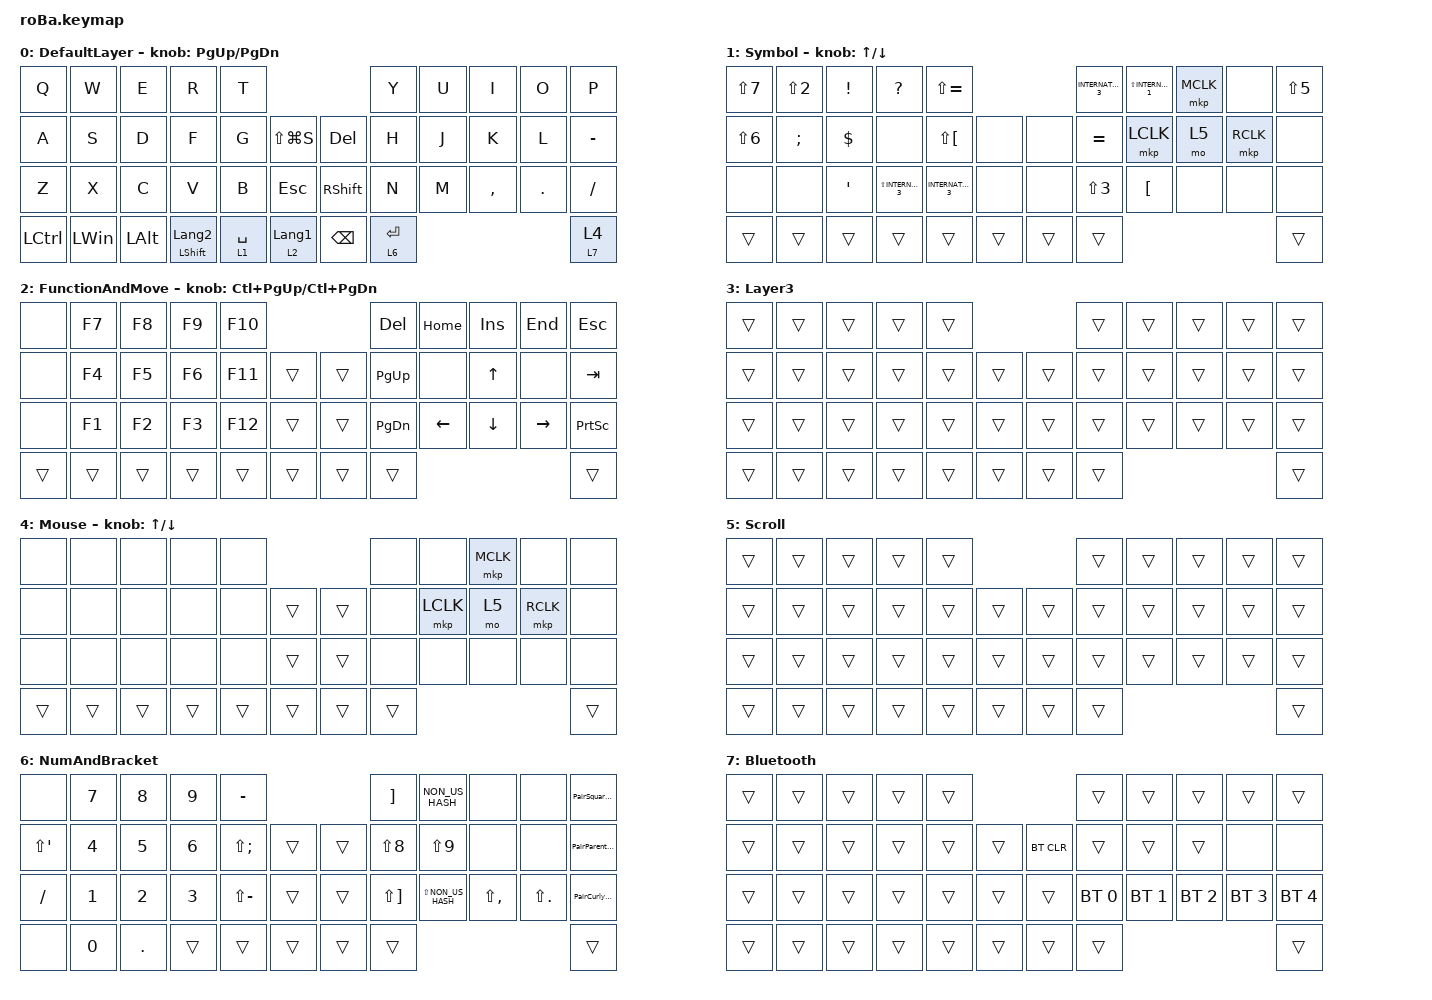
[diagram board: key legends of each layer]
#include <behaviors.dtsi>
#include <dt-bindings/zmk/bt.h>
#include <dt-bindings/zmk/keys.h>
#include <dt-bindings/zmk/pointing.h>

#define MOUSE 4
#define SCROLL 5
#define NUM 6

&mt {
    flavor = "balanced";
    quick-tap-ms = <0>;
};

/ {
    combos {
        compatible = "zmk,combos";

        LeftClick {
            bindings = <&mkp LCLK>;
            key-positions = <18 19>;
        };

        RightClick {
            bindings = <&mkp RCLK>;
            key-positions = <19 20>;
        };

        ScrollMode {
            bindings = <&mo 5>;
            key-positions = <30 19>;
        };

        MiddleClick {
            bindings = <&mkp MCLK>;
            key-positions = <7 18>;
        };
    };

    macros {
        to_layer_0: to_layer_0 {
            compatible = "zmk,behavior-macro-one-param";
            #binding-cells = <1>;
            bindings = <&to 0 &macro_param_1to1 &kp MACRO_PLACEHOLDER>;
            label = "TO_LAYER_0";
        };

        PairSquareBrackets: PairSquareBrackets {
            compatible = "zmk,behavior-macro";
            #binding-cells = <0>;
            bindings = <&kp RIGHT_BRACKET &kp NON_US_HASH &kp LEFT>;
            label = "PAIRSQUAREBRACKETS";
        };

        PairParentheses: PairParentheses {
            compatible = "zmk,behavior-macro";
            #binding-cells = <0>;
            bindings = <&kp LS(N8) &kp LS(N9) &kp LEFT>;
            label = "PAIRPARENTHESES";
        };

        PairCurlyBrackets: PairCurlyBrackets {
            compatible = "zmk,behavior-macro";
            #binding-cells = <0>;
            bindings = <&kp LS(RIGHT_BRACKET) &kp LS(NON_US_HASH) &kp LEFT>;
            label = "PAIRCURLYBRACKETS";
        };
    };

    behaviors {
        lt_to_layer_0: lt_to_layer_0 {
            compatible = "zmk,behavior-hold-tap";
            label = "LAYER_TAP_TO_0";
            bindings = <&mo>, <&to_layer_0>;

            #binding-cells = <2>;
            tapping-term-ms = <200>;
        };

        BTorMouseLayer: BTorMouseLayer {
            compatible = "zmk,behavior-hold-tap";
            label = "BTORMOUSELAYER";
            bindings = <&mo>, <&tog>;

            #binding-cells = <2>;
            tapping-term-ms = <200>;
        };

        ShiftORLeftClick: ShiftORLeftClick {
            compatible = "zmk,behavior-hold-tap";
            label = "SHIFTORLEFTCLICK";
            bindings = <&kp>, <&mkp>;

            #binding-cells = <2>;
            tapping-term-ms = <200>;
        };
    };

    keymap {
        compatible = "zmk,keymap";

        DefaultLayer {
            bindings = <
&kp Q      &kp W         &kp E         &kp R                      &kp T                                             &kp Y        &kp U  &kp I      &kp O    &kp P
&kp A      &kp S         &kp D         &kp F                      &kp G        &kp LS(LG(S))       &kp DELETE       &kp H        &kp J  &kp K      &kp L    &kp MINUS
&kp Z      &kp X         &kp C         &kp V                      &kp B        &kp ESCAPE          &kp RIGHT_SHIFT  &kp N        &kp M  &kp COMMA  &kp DOT  &kp SLASH
&kp LCTRL  &kp LEFT_WIN  &kp LEFT_ALT  &mt LEFT_SHIFT LANGUAGE_2  &lt 1 SPACE  &lt 2 LANGUAGE_1    &kp BACKSPACE    &lt 6 ENTER                             &BTorMouseLayer 7 4
            >;

            sensor-bindings = <&inc_dec_kp PG_UP PAGE_DOWN>;
        };

        Symbol {
            bindings = <
&kp LS(N7)        &kp LS(NUMBER_2)  &kp EXCLAMATION  &kp QUESTION             &kp LS(EQUAL)                           &kp INTERNATIONAL_3  &kp LS(INTERNATIONAL_1)  &mkp MCLK  &none      &kp LS(N5)
&kp LS(NUMBER_6)  &kp SEMICOLON     &kp DOLLAR       &none                    &kp LS(LEFT_BRACKET)  &none     &none   &kp EQUAL            &mkp LCLK                &mo 5      &mkp RCLK  &none
&none             &none             &kp SQT          &kp LS(INTERNATIONAL_3)  &kp INTERNATIONAL_3   &none     &none   &kp LS(NUMBER_3)     &kp LEFT_BRACKET         &none      &none      &none
&trans            &trans            &trans           &trans                   &trans                &trans    &trans  &trans                                                              &trans
            >;

            sensor-bindings = <&inc_dec_kp UP_ARROW DOWN_ARROW>;
        };

        FunctionAndMove {
            bindings = <
&none   &kp F7  &kp F8  &kp F9  &kp F10                    &kp DELETE     &kp HOME  &kp INS       &kp END    &kp ESCAPE
&none   &kp F4  &kp F5  &kp F6  &kp F11  &trans    &trans  &kp PAGE_UP    &none     &kp UP_ARROW  &none      &kp TAB
&none   &kp F1  &kp F2  &kp F3  &kp F12  &trans    &trans  &kp PAGE_DOWN  &kp LEFT  &kp DOWN      &kp RIGHT  &kp PRINTSCREEN
&trans  &trans  &trans  &trans  &trans   &trans    &trans  &trans                                            &trans
            >;

            sensor-bindings = <&inc_dec_kp LC(PAGE_UP) LC(PAGE_DOWN)>;
        };

        Layer3 {
            bindings = <
&trans  &trans  &trans  &trans  &trans                    &trans  &trans  &trans  &trans  &trans
&trans  &trans  &trans  &trans  &trans  &trans    &trans  &trans  &trans  &trans  &trans  &trans
&trans  &trans  &trans  &trans  &trans  &trans    &trans  &trans  &trans  &trans  &trans  &trans
&trans  &trans  &trans  &trans  &trans  &trans    &trans  &trans                          &trans
            >;
        };

        Mouse {
            bindings = <
&none   &none   &none   &none   &none                     &none   &none      &mkp MCLK  &none      &none
&none   &none   &none   &none   &none   &trans    &trans  &none   &mkp LCLK  &mo 5      &mkp RCLK  &none
&none   &none   &none   &none   &none   &trans    &trans  &none   &none      &none      &none      &none
&trans  &trans  &trans  &trans  &trans  &trans    &trans  &trans                                   &trans
            >;

            sensor-bindings = <&inc_dec_kp UP_ARROW DOWN>;
        };

        Scroll {
            bindings = <
&trans  &trans  &trans  &trans  &trans                    &trans  &trans  &trans  &trans  &trans
&trans  &trans  &trans  &trans  &trans  &trans    &trans  &trans  &trans  &trans  &trans  &trans
&trans  &trans  &trans  &trans  &trans  &trans    &trans  &trans  &trans  &trans  &trans  &trans
&trans  &trans  &trans  &trans  &trans  &trans    &trans  &trans                          &trans
            >;
        };

        NumAndBracket {
            bindings = <
&none        &kp N7        &kp N8        &kp N9        &kp MINUS                        &kp RIGHT_BRACKET      &kp NON_US_HASH      &none          &none           &PairSquareBrackets
&kp LS(SQT)  &kp NUMBER_4  &kp N5        &kp NUMBER_6  &kp LS(SEMI)   &trans    &trans  &kp LS(N8)             &kp LS(N9)           &none          &none           &PairParentheses
&kp SLASH    &kp NUMBER_1  &kp NUMBER_2  &kp NUMBER_3  &kp LS(MINUS)  &trans    &trans  &kp LS(RIGHT_BRACKET)  &kp LS(NON_US_HASH)  &kp LS(COMMA)  &kp LS(PERIOD)  &PairCurlyBrackets
&none        &kp N0        &kp DOT       &trans        &trans         &trans    &trans  &trans                                                                     &trans
            >;
        };

        Bluetooth {
            bindings = <
&trans  &trans  &trans  &trans  &trans                        &trans        &trans        &trans        &trans        &trans
&trans  &trans  &trans  &trans  &trans  &trans    &bt BT_CLR  &trans        &trans        &trans        &none         &none
&trans  &trans  &trans  &trans  &trans  &trans    &trans      &bt BT_SEL 0  &bt BT_SEL 1  &bt BT_SEL 2  &bt BT_SEL 3  &bt BT_SEL 4
&trans  &trans  &trans  &trans  &trans  &trans    &trans      &trans                                                  &trans
            >;
        };
    };
};
